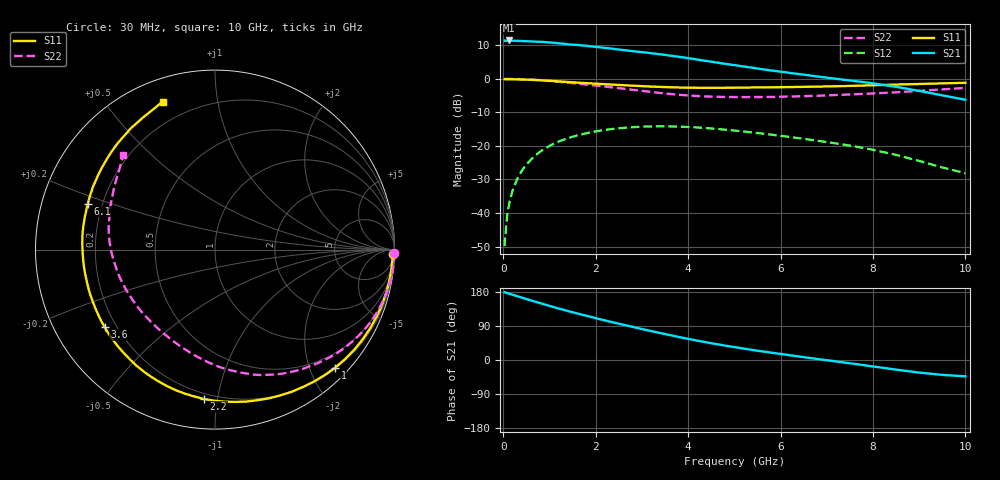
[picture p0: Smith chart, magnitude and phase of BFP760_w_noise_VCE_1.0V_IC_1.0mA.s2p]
! Infineon Technologies  Discrete & RF Semiconductors
! BFP760
! VCE =  1.0 V,  IC =  1.0 mA
! Common Emitter S-Parameters:  Nov 2012
# GHz  S  MA  R  50
!  f  S11  S21  S12  S22
! GHz  MAG  ANG  MAG  ANG  MAG  ANG  MAG  ANG
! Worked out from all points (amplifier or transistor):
!   99 points, 30 MHz to 10 GHz, reference 50 ohm
!   highest |S21| = 11.5 dB at 120 MHz (marker M1)
!   |S21| within 3 dB of that: start of sweep to 2.681 GHz
!   unconditionally stable (mu >= 1): 7.672 GHz to end of sweep
!   at 350 MHz: K = 0.04, MSG = 20.0 dB, |S12| = -28.6 dB
!   at 3.5 GHz: K = 0.29, MSG = 10.7 dB, |S12| = -14.2 dB
!   at 10 GHz: K = 2.20, MAG = 4.8 dB, |S12| = -28.1 dB
!   lowest NFmin = 0.56 dB at 900 MHz
!   S11 on the Smith chart (normalised r, x): 30 MHz: 25, -67; 1 GHz: 0.22, -2.42; 2.2 GHz: 0.17, -0.91; 3.6 GHz: 0.16, -0.31; 6.1 GHz: 0.14, +0.17; 10 GHz: 0.10, +0.70
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0.03  0.9903 -1.5  3.703 178.9  0.0032 91.4  0.9998 -1.0
0.04  0.9906 -1.9  3.677 178.7  0.0044 89.4  1 -1.3
0.05  0.9893 -2.3  3.71 177.7  0.0044 85.8  0.9982 -1.6
0.08  0.9896 -3.6  3.714 176.7  0.0084 89.6  0.9991 -2.5
0.12  0.9883 -5.4  3.746 175.2  0.0127 84.8  0.9995 -3.8
0.25  0.9857 -11.2  3.703 170.4  0.0262 82.0  0.9947 -7.9
0.45  0.9781 -20.2  3.652 162.8  0.0476 75.5  0.9856 -14.1
0.8  0.9556 -35.8  3.573 150.1  0.0822 63.7  0.956 -25.0
1  0.9383 -44.6  3.495 142.9  0.1 57.1  0.9327 -31.1
1.3  0.9087 -57.4  3.351 132.5  0.1237 47.7  0.8925 -40.0
1.7  0.8718 -74.2  3.162 119.7  0.1491 36.4  0.8368 -51.0
2.2  0.8342 -94.3  2.903 104.4  0.1733 22.8  0.7691 -64.8
2.9  0.7867 -120.5  2.548 84.6  0.1921 5.6  0.676 -83.1
3.4  0.7594 -138.3  2.327 71.0  0.196 -5.9  0.617 -96.2
3.6  0.7512 -145.0  2.231 65.8  0.1958 -10.3  0.598 -101.4
4.3  0.7361 -165.9  1.896 48.8  0.1865 -24.5  0.5511 -119.2
5.1  0.7411 175.8  1.569 32.1  0.1672 -37.9  0.5363 -136.5
6.1  0.7538 160.1  1.257 14.3  0.1389 -51.3  0.5444 -156.2
6.7  0.7658 151.8  1.11 4.4  0.1223 -57.7  0.5582 -167.8
7.6  0.7896 138.4  0.931 -10.3  0.0985 -66.3  0.5907 175.0
8.5  0.8231 124.6  0.763 -25.4  0.0735 -73.1  0.6313 157.4
10  0.8745 109.5  0.489 -43.2  0.0393 -63.1  0.7341 134.2
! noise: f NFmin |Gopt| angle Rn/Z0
0.9  0.56  0.74  29  0.39
1.8  0.75  0.67  58  0.32
2.4  0.89  0.62  78  0.27
3.5  1.15  0.59  110  0.18
5.5  1.87  0.54  -168  0.1
8  3.1  0.66  -111  0.7
